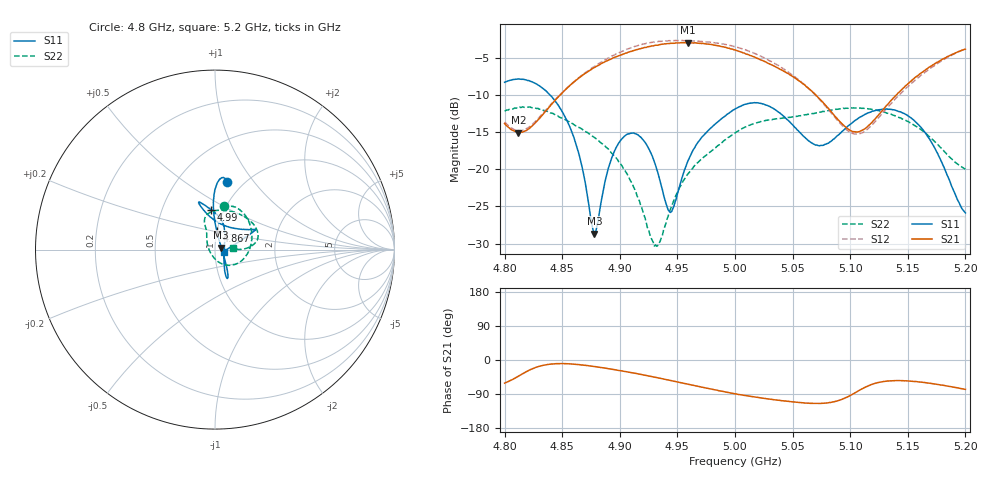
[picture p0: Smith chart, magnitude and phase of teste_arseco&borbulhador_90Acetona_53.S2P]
! Network Analyzer HP8722D
! Hewlett-Packard
! Data name: Linha & Wilkinson
! Saver's name: Rodrigo Anjos
! Comments: Teste da utilização de aquisição
! continua pelo VNA HP8722D
! Time and date: 17/4/2025 11:29
!  Frequency  S11  S21  S12  S22
# HZ  S  MA R 50
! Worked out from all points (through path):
!   401 points, 4.8 GHz to 5.2 GHz, reference 50 ohm
!   highest |S21| = -2.98 dB at 4.959 GHz (marker M1); lowest = -15.1 dB at 4.812 GHz (marker M2)
!   lowest |S11| = -28.6 dB at 4.878 GHz (marker M3), VSWR 1.08, Z = 53.6 + j1.25 ohm
!   |S11| at or under -10 dB: 4.839 GHz to end of sweep
!   |S22| runs from -30.3 to -11.6 dB; largest |S21 - S12| = 1.4
!   S11 on the Smith chart (normalised r, x): 4.8 GHz: 0.84, +0.75; 4.867 GHz: 1.00, +0.21; 4.99 GHz: 0.87, +0.41; 5.2 GHz: 1.10, -0.03
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4.8e9  0.3843 79.9  0.203 -61.1  0.2076 74.0  0.2453 78.5
4.812e9  0.4046 83.4  0.1765 -42.7  0.1818 90.6  0.2584 68.2
4.845e9  0.2796 91.7  0.2971 -9.7  0.2994 123.1  0.2313 28.5
4.858e9  0.1807 91.2  0.3734 -10.5  0.3741 124.1  0.2046 9.4
4.867e9  0.1054 84.7  0.4246 -13.1  0.4272 123.4  0.1862 -3.9
4.878e9  0.03696 18.4  0.4828 -17.3  0.4919 121.2  0.1635 -20.8
4.892e9  0.1132 -55.6  0.5487 -23.7  0.5689 116.8  0.1308 -40.7
4.904e9  0.1668 -64.2  0.5981 -30.0  0.6295 111.7  0.1002 -57.5
4.92e9  0.1584 -67.6  0.6521 -39.3  0.6952 103.0  0.05213 -90.5
4.928e9  0.1236 -64.3  0.675 -43.8  0.714 98.1  0.03343 -128.0
4.934e9  0.08912 -55.7  0.6861 -47.9  0.7255 94.2  0.03168 -171.8
4.944e9  0.05125 -1.3  0.7028 -54.1  0.7308 87.9  0.05407 142.3
4.959e9  0.1131 61.5  0.7099 -63.7  0.7307 78.1  0.09288 120.0
4.99e9  0.2237 95.7  0.6648 -83.4  0.6964 58.1  0.1548 112.0
5e9  0.2542 103.0  0.6334 -89.3  0.6679 51.6  0.1756 109.6
5.029e9  0.2663 109.1  0.5148 -102.8  0.5424 35.7  0.2145 93.1
5.067e9  0.1496 81.1  0.333 -114.4  0.3323 26.3  0.237 59.6
5.081e9  0.1496 55.1  0.2568 -113.0  0.2524 29.3  0.2481 45.8
5.104e9  0.2119 31.9  0.1788 -87.0  0.1728 57.1  0.258 26.7
5.134e9  0.2531 26.0  0.281 -55.0  0.2686 91.1  0.2359 11.4
5.164e9  0.1804 21.6  0.4582 -59.3  0.442 88.4  0.1786 2.7
5.2e9  0.05087 -16.8  0.6414 -77.5  0.6458 71.5  0.1004 4.4
